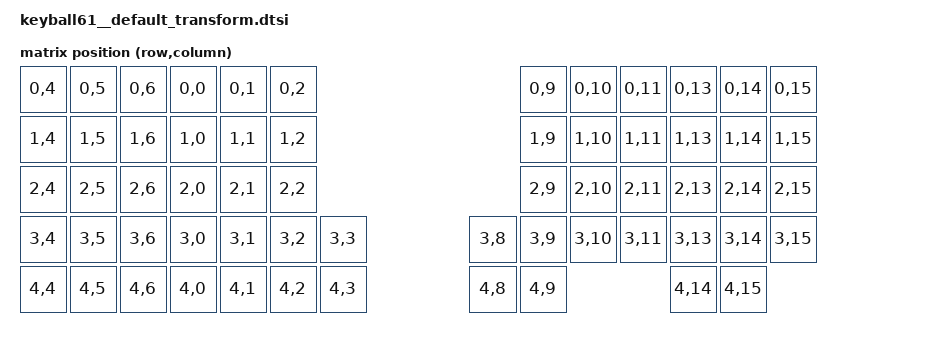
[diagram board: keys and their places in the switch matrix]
/*
 * 使い方:
 *   1. keyball61.dtsi の default_transform をこれに置き換える
 *      (columns を 13 -> 16 に、mapを全部これに差し替え)
 *   2. keymap.keymap の一番上の layer (default layer) の bindings を
 *      下の KEYMAP と同じ並び・同じ個数にする(このフォルダ内にサンプル有）
 *   3. 両手ビルドし直して、1キーずつ押して動くか確認
 * 右手は col-offset=8 にしてください(duplexで論理列が8列/手になったため、前の"7"のままだと合いません)。
 */

    default_transform: keymap_transform_0 {
        compatible = "zmk,matrix-transform";
        columns = <16>;
        rows = <5>;

        map = <
            RC(0,4)  RC(0,5)  RC(0,6)  RC(0,0)  RC(0,1)  RC(0,2)                                        RC(0,9) RC(0,10) RC(0,11) RC(0,13) RC(0,14) RC(0,15)
            RC(1,4)  RC(1,5)  RC(1,6)  RC(1,0)  RC(1,1)  RC(1,2)                                        RC(1,9) RC(1,10) RC(1,11) RC(1,13) RC(1,14) RC(1,15)
            RC(2,4)  RC(2,5)  RC(2,6)  RC(2,0)  RC(2,1)  RC(2,2)                                        RC(2,9) RC(2,10) RC(2,11) RC(2,13) RC(2,14) RC(2,15)
            RC(3,4)  RC(3,5)  RC(3,6)  RC(3,0)  RC(3,1)  RC(3,2)  RC(3,3)                      RC(3,8)  RC(3,9) RC(3,10) RC(3,11) RC(3,13) RC(3,14) RC(3,15)
            RC(4,4)  RC(4,5)  RC(4,6)  RC(4,0)  RC(4,1)  RC(4,2)  RC(4,3)                      RC(4,8)  RC(4,9)                   RC(4,14) RC(4,15)
        >;
    };
